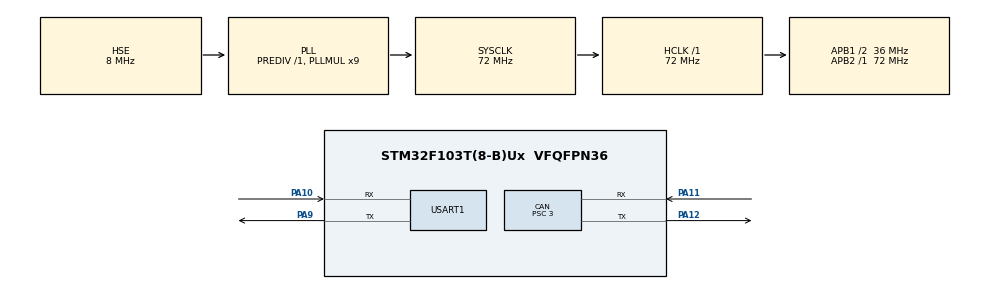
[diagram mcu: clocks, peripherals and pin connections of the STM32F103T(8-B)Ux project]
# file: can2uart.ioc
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CAN.BS1=CAN_BS1_5TQ
CAN.BS2=CAN_BS2_6TQ
CAN.CalculateTimeBit=1000
CAN.CalculateTimeQuantum=83.33333333333334
CAN.Prescaler=3
Mcu.Family=STM32F1
Mcu.Name=STM32F103T(8-B)Ux
Mcu.Package=VFQFPN36
NVIC.PriorityGroup=NVIC_PRIORITYGROUP_4
NVIC.USB_LP_CAN1_RX0_IRQn=true\:0\:0\:false\:false\:true\:true
PA10.Mode=Asynchronous
PA10.Signal=USART1_RX
PA11.Mode=Master
PA11.Signal=CAN_RX
PA12.Mode=Master
PA12.Signal=CAN_TX
PA13.Mode=Serial_Wire
PA13.Signal=SYS_JTMS-SWDIO
PA14.Mode=Serial_Wire
PA14.Signal=SYS_JTCK-SWCLK
PA9.Mode=Asynchronous
PA9.Signal=USART1_TX
PD0-OSC_IN.Mode=HSE-External-Oscillator
PD0-OSC_IN.Signal=RCC_OSC_IN
PD1-OSC_OUT.Mode=HSE-External-Oscillator
PD1-OSC_OUT.Signal=RCC_OSC_OUT
ProjectManager.HeapSize=0x200
ProjectManager.StackSize=0x400
ProjectManager.TargetToolchain=MDK-ARM V5
RCC.AHBFreq_Value=72000000
RCC.APB1CLKDivider=RCC_HCLK_DIV2
RCC.APB1Freq_Value=36000000
RCC.APB1TimFreq_Value=72000000
RCC.APB2Freq_Value=72000000
RCC.APB2TimFreq_Value=72000000
RCC.HCLKFreq_Value=72000000
RCC.PLLMUL=RCC_PLL_MUL9
RCC.PLLSourceVirtual=RCC_PLLSOURCE_HSE
RCC.SYSCLKFreq_VALUE=72000000
RCC.SYSCLKSource=RCC_SYSCLKSOURCE_PLLCLK
RCC.USBFreq_Value=72000000
USART1.VirtualMode=VM_ASYNC
board=can2uart

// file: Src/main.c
/**
  ******************************************************************************
  * @file           : main.c
  * @brief          : Main program body
  ******************************************************************************
  ** This notice applies to any and all portions of this file
  * that are not between comment pairs USER CODE BEGIN and
  * USER CODE END. Other portions of this file, whether
  * inserted by the user or by software development tools
  * are owned by their respective copyright owners.
  *
  * COPYRIGHT(c) 2018 STMicroelectronics
  *
  * Redistribution and use in source and binary forms, with or without modification,
  * are permitted provided that the following conditions are met:
  *   1. Redistributions of source code must retain the above copyright notice,
  *      this list of conditions and the following disclaimer.
  *   2. Redistributions in binary form must reproduce the above copyright notice,
  *      this list of conditions and the following disclaimer in the documentation
  *      and/or other materials provided with the distribution.
  *   3. Neither the name of STMicroelectronics nor the names of its contributors
  *      may be used to endorse or promote products derived from this software
  *      without specific prior written permission.
  *
  * THIS SOFTWARE IS PROVIDED BY THE COPYRIGHT HOLDERS AND CONTRIBUTORS "AS IS"
  * AND ANY EXPRESS OR IMPLIED WARRANTIES, INCLUDING, BUT NOT LIMITED TO, THE
  * IMPLIED WARRANTIES OF MERCHANTABILITY AND FITNESS FOR A PARTICULAR PURPOSE ARE
  * DISCLAIMED. IN NO EVENT SHALL THE COPYRIGHT HOLDER OR CONTRIBUTORS BE LIABLE
  * FOR ANY DIRECT, INDIRECT, INCIDENTAL, SPECIAL, EXEMPLARY, OR CONSEQUENTIAL
  * DAMAGES (INCLUDING, BUT NOT LIMITED TO, PROCUREMENT OF SUBSTITUTE GOODS OR
  * SERVICES; LOSS OF USE, DATA, OR PROFITS; OR BUSINESS INTERRUPTION) HOWEVER
  * CAUSED AND ON ANY THEORY OF LIABILITY, WHETHER IN CONTRACT, STRICT LIABILITY,
  * OR TORT (INCLUDING NEGLIGENCE OR OTHERWISE) ARISING IN ANY WAY OUT OF THE USE
  * OF THIS SOFTWARE, EVEN IF ADVISED OF THE POSSIBILITY OF SUCH DAMAGE.
  *
  ******************************************************************************
  */
#include "main.h"
#include "stm32f1xx_hal.h"
#include "can.h"
#include "usart.h"
#include "gpio.h"

/* USER CODE BEGIN PV */
/* Private variables ---------------------------------------------------------*/
CanRxMsgTypeDef RxMessage;
/* USER CODE END PV */

void SystemClock_Config(void);

/* USER CODE BEGIN PFP */
/* Private function prototypes -----------------------------------------------*/
uint8_t CAN_Init() {
	hcan.pRxMsg = &RxMessage;

	CAN_FilterConfTypeDef filterConfig;

	filterConfig.FilterNumber = 0;
  filterConfig.FilterMode = CAN_FILTERMODE_IDMASK;
  filterConfig.FilterScale = CAN_FILTERSCALE_32BIT;
  filterConfig.FilterIdHigh = 0x0000;
  filterConfig.FilterIdLow = 0x0000;
  filterConfig.FilterMaskIdHigh = 0x0000;
  filterConfig.FilterMaskIdLow = 0x0000;
  filterConfig.FilterFIFOAssignment = CAN_FILTER_FIFO0;
  filterConfig.FilterActivation = ENABLE;
  filterConfig.BankNumber = 14;

	if(HAL_CAN_ConfigFilter(&hcan,&filterConfig) != HAL_OK) return 1;
	return 0;
}

void HAL_CAN_RxCpltCallback(CAN_HandleTypeDef* hcan1) {
	__HAL_CAN_ENABLE_IT(&hcan, CAN_IT_FMP0);
	printf("(0x%08x, %d,", hcan.pRxMsg->ExtId, hcan.pRxMsg->DLC);
	for(int i = 0; i < hcan.pRxMsg->DLC; i++) {
		printf(" %02x", hcan.pRxMsg->Data[i]);
	}
	if(hcan.pRxMsg->DLC >= 2) {
		printf(", %d", (hcan.pRxMsg->Data[0]<<8) + hcan.pRxMsg->Data[1]);
	}
	printf(")\r\n");
}
/* USER CODE END PFP */

int main(void)
{

  /* MCU Configuration----------------------------------------------------------*/

  /* Reset of all peripherals, Initializes the Flash interface and the Systick. */
  HAL_Init();

  /* Configure the system clock */
  SystemClock_Config();

  /* Initialize all configured peripherals */
  MX_GPIO_Init();
  MX_USART1_UART_Init();
  MX_CAN_Init();
  /* USER CODE BEGIN 2 */
	printf("Hello, world!\r\n");
	CAN_Init();
	__HAL_CAN_ENABLE_IT(&hcan, CAN_IT_FMP0);
  /* USER CODE END 2 */

  /* Infinite loop */
  while (1)
  {

  }

}

void SystemClock_Config(void)
{

  RCC_OscInitTypeDef RCC_OscInitStruct;
  RCC_ClkInitTypeDef RCC_ClkInitStruct;

    /**Initializes the CPU, AHB and APB busses clocks
    */
  RCC_OscInitStruct.OscillatorType = RCC_OSCILLATORTYPE_HSE;
  RCC_OscInitStruct.HSEState = RCC_HSE_ON;
  RCC_OscInitStruct.HSEPredivValue = RCC_HSE_PREDIV_DIV1;
  RCC_OscInitStruct.HSIState = RCC_HSI_ON;
  RCC_OscInitStruct.PLL.PLLState = RCC_PLL_ON;
  RCC_OscInitStruct.PLL.PLLSource = RCC_PLLSOURCE_HSE;
  RCC_OscInitStruct.PLL.PLLMUL = RCC_PLL_MUL9;
  if (HAL_RCC_OscConfig(&RCC_OscInitStruct) != HAL_OK)
  {
    _Error_Handler(__FILE__, __LINE__);
  }

    /**Initializes the CPU, AHB and APB busses clocks
    */
  RCC_ClkInitStruct.ClockType = RCC_CLOCKTYPE_HCLK|RCC_CLOCKTYPE_SYSCLK
                              |RCC_CLOCKTYPE_PCLK1|RCC_CLOCKTYPE_PCLK2;
  RCC_ClkInitStruct.SYSCLKSource = RCC_SYSCLKSOURCE_PLLCLK;
  RCC_ClkInitStruct.AHBCLKDivider = RCC_SYSCLK_DIV1;
  RCC_ClkInitStruct.APB1CLKDivider = RCC_HCLK_DIV2;
  RCC_ClkInitStruct.APB2CLKDivider = RCC_HCLK_DIV1;

  if (HAL_RCC_ClockConfig(&RCC_ClkInitStruct, FLASH_LATENCY_2) != HAL_OK)
  {
    _Error_Handler(__FILE__, __LINE__);
  }

    /**Configure the Systick interrupt time
    */
  HAL_SYSTICK_Config(HAL_RCC_GetHCLKFreq()/1000);

    /**Configure the Systick
    */
  HAL_SYSTICK_CLKSourceConfig(SYSTICK_CLKSOURCE_HCLK);

  /* SysTick_IRQn interrupt configuration */
  HAL_NVIC_SetPriority(SysTick_IRQn, 0, 0);
}

void _Error_Handler(char *file, int line)
{
  while(1)
  {
  }
}

/************************ (C) COPYRIGHT STMicroelectronics *****END OF FILE****/
